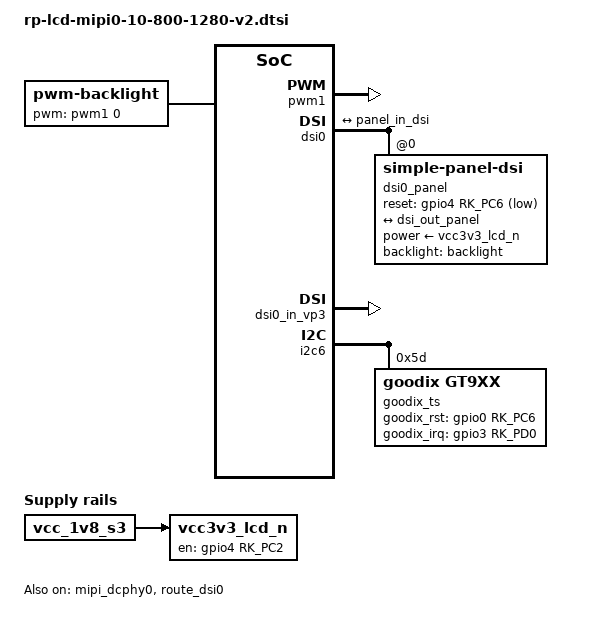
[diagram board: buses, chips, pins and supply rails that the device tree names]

/ {
    vcc3v3_lcd_n: vcc3v3-lcd0-n {
        compatible = "regulator-fixed";
        regulator-name = "vcc3v3_lcd0_n";
        regulator-boot-on;
        enable-active-high;
        gpio = <&gpio4 RK_PC2 GPIO_ACTIVE_HIGH>;
        vin-supply = <&vcc_1v8_s3>;
    };


    backlight: backlight {
        compatible = "pwm-backlight";
        pwms = <&pwm1 0 25000 0>;
        status = "okay";
        brightness-levels = <
              0  20  20  21  21  22  22  23
             23  24  24  25  25  26  26  27
             27  28  28  29  29  30  30  31
             31  32  32  33  33  34  34  35
             35  36  36  37  37  38  38  39
             40  41  42  43  44  45  46  47
             48  49  50  51  52  53  54  55
             56  57  58  59  60  61  62  63
             64  65  66  67  68  69  70  71
             72  73  74  75  76  77  78  79
             80  81  82  83  84  85  86  87
             88  89  90  91  92  93  94  95
             96  97  98  99 100 101 102 103
            104 105 106 107 108 109 110 111
            112 113 114 115 116 117 118 119
            120 121 122 123 124 125 126 127
            128 129 130 131 132 133 134 135
            136 137 138 139 140 141 142 143
            144 145 146 147 148 149 150 151
            152 153 154 155 156 157 158 159
            160 161 162 163 164 165 166 167
            168 169 170 171 172 173 174 175
            176 177 178 179 180 181 182 183
            184 185 186 187 188 189 190 191
            192 193 194 195 196 197 198 199
            200 201 202 203 204 205 206 207
            208 209 210 211 212 213 214 215
            216 217 218 219 220 221 222 223
            224 225 226 227 228 229 230 231
            232 233 234 235 236 237 238 239
            240 241 242 243 244 245 246 247
            248 249 250 251 252 253 254 255
        >;
        default-brightness-level = <200>;
    };

};


&pwm1 {
    status = "okay";
    pinctrl-0 = <&pwm1m1_pins>;
};


&dsi0 {
    status = "okay";
    rockchip,lane-rate = <480000>;
    dsi0_panel: panel@0 {
        status = "okay";
        compatible = "simple-panel-dsi";
        reg = <0>;

        power-supply = <&vcc3v3_lcd_n>;

        reset-gpios = <&gpio4 RK_PC6 GPIO_ACTIVE_LOW>;
        pinctrl-names = "default";
        pinctrl-0 = <&lcd_rst_gpio>;

        backlight = <&backlight>;
        init-delay-ms = <60>;
        reset-delay-ms = <60>;
        enable-delay-ms = <60>;
        prepare-delay-ms = <60>;
        unprepare-delay-ms = <60>;
        disable-delay-ms = <60>;
        dsi,flags = <(MIPI_DSI_MODE_VIDEO | MIPI_DSI_MODE_VIDEO_BURST |
            MIPI_DSI_MODE_LPM | MIPI_DSI_MODE_EOT_PACKET)>;
        dsi,format = <MIPI_DSI_FMT_RGB888>;
        dsi,lanes  = <4>;
        
        panel-init-sequence = [
        39 00 04 FF 98 81 03    
                //=========_1===========//  
                39 00 02 01 00
                39 00 02 02 00
                39 00 02 03 53   
                39 00 02 04 13   
                39 00 02 05 00   
                39 00 02 06 04   
                39 00 02 07 00   
                39 00 02 08 00   
                39 00 02 09 22   
                39 00 02 0a 22   
                39 00 02 0b 00   
                39 00 02 0c 01   
                39 00 02 0d 00   
                39 00 02 0e 00   
                39 00 02 0f 23   
                39 00 02 10 23   
                39 00 02 11 00
                39 00 02 12 00
                39 00 02 13 00
                39 00 02 14 00
                39 00 02 15 00
                39 00 02 16 00
                39 00 02 17 00
                39 00 02 18 00
                39 00 02 19 00
                39 00 02 1a 00
                39 00 02 1b 00
                39 00 02 1c 00
                39 00 02 1d 00
                39 00 02 1e 44
                39 00 02 1f 80
                39 00 02 20 02   
                39 00 02 21 03   
                39 00 02 22 00
                39 00 02 23 00
                39 00 02 24 00
                39 00 02 25 00
                39 00 02 26 00
                39 00 02 27 00
                39 00 02 28 33   
                39 00 02 29 03   
                39 00 02 2a 00    
                39 00 02 2b 00    
                39 00 02 2c 00    
                39 00 02 2d 00    
                39 00 02 2e 00    
                39 00 02 2f 00    
                39 00 02 30 00    
                39 00 02 31 00    
                39 00 02 32 00    
                39 00 02 33 00    
                39 00 02 34 04   
                39 00 02 35 00    
                39 00 02 36 00    
                39 00 02 37 00    
                39 00 02 38 3C    
                39 00 02 39 00    
                39 00 02 3a 40    
                39 00 02 3b 40    
                39 00 02 3c 00    
                39 00 02 3d 00    
                39 00 02 3e 00    
                39 00 02 3f 00    
                39 00 02 40 00    
                39 00 02 41 00    
                39 00 02 42 00    
                39 00 02 43 00    
                39 00 02 44 00 



                //=========_2===========//   
                39 00 02 50 01    
                39 00 02 51 23    
                39 00 02 52 45    
                39 00 02 53 67    
                39 00 02 54 89     
                39 00 02 55 ab    
                39 00 02 56 01    
                39 00 02 57 23    
                39 00 02 58 45    
                39 00 02 59 67    
                39 00 02 5a 89    
                39 00 02 5b ab    
                39 00 02 5c cd    
                39 00 02 5d ef

                //=========_3===========//       
                39 00 02 5e 11 

                39 00 02 5f 01     
                39 00 02 60 00     
                39 00 02 61 15     
                39 00 02 62 14     
                39 00 02 63 0C     
                39 00 02 64 0D     
                39 00 02 65 0E     
                39 00 02 66 0F     
                39 00 02 67 06     
                39 00 02 68 02    
                39 00 02 69 02    
                39 00 02 6a 02    
                39 00 02 6b 02    
                39 00 02 6c 02    
                39 00 02 6d 02      
                39 00 02 6e 08      
                39 00 02 6f 02      
                39 00 02 70 02      
                39 00 02 71 02     
                39 00 02 72 02    
                39 00 02 73 02    
                39 00 02 74 02
                    
                39 00 02 75 01      
                39 00 02 76 00      
                39 00 02 77 15      
                39 00 02 78 14      
                39 00 02 79 0C     
                39 00 02 7a 0D     
                39 00 02 7b 0E      
                39 00 02 7c 0F      
                39 00 02 7D 08      
                39 00 02 7E 02      
                39 00 02 7F 02      
                39 00 02 80 02      
                39 00 02 81 02      
                39 00 02 82 02      
                39 00 02 83 02       
                39 00 02 84 06       
                39 00 02 85 02      
                39 00 02 86 02       
                39 00 02 87 02       
                39 00 02 88 02    
                39 00 02 89 02    
                39 00 02 8A 02


                //CMD_Page 
                39 00 04 FF 98 81 04
                39 00 02 6C 15        
                39 00 02 6E 3B        
                39 00 02 6F 73       
                39 00 02 3A 24       
                39 00 02 8D 14        
                39 00 02 87 BA                      
                39 00 02 26 76                
                39 00 02 B2 D1        
                39 00 02 B5 27        
                39 00 02 31 75        
                39 00 02 30 03        
                39 00 02 3B 98       
                39 00 02 35 1f        
                39 00 02 33 14               
                39 00 02 7A 0F
                39 00 02 38 02
                39 00 02 39 00


                //CMD_Page 
                39 00 04 FF 98 81 01
                39 00 02 22 0A        
                39 00 02 31 0A        
                39 00 02 35 07        
                39 00 02 52 00        
                39 00 02 53 5A          
                39 00 02 54 00        
                39 00 02 55 59        
                39 00 02 50 83        
                39 00 02 51 80        
                39 00 02 60 20            
                39 00 02 61 01
                39 00 02 62 07        
                39 00 02 63 00

                //GammaP
                39 00 02 A0 08
                39 00 02 A1 0F
                39 00 02 A2 15
                39 00 02 A3 0E
                39 00 02 A4 0D
                39 00 02 A5 1B
                39 00 02 A6 0F
                39 00 02 A7 14
                39 00 02 A8 33
                39 00 02 A9 17
                39 00 02 AA 23
                39 00 02 AB 3F
                39 00 02 AC 22
                39 00 02 AD 24
                39 00 02 AE 59
                39 00 02 AF 2B
                39 00 02 B0 2E
                39 00 02 B1 4C
                39 00 02 B2 5C
                39 00 02 B3 33

                //GammaN
                39 00 02 C0 08
                39 00 02 C1 0F
                39 00 02 C2 15
                39 00 02 C3 0E
                39 00 02 C4 0D
                39 00 02 C5 1B
                39 00 02 C6 0F
                39 00 02 C7 14
                39 00 02 C8 33
                39 00 02 C9 17
                39 00 02 CA 23
                39 00 02 CB 3F
                39 00 02 CC 22
                39 00 02 CD 24
                39 00 02 CE 59
                39 00 02 CF 2B
                39 00 02 D0 2E
                39 00 02 D1 4C
                39 00 02 D2 5C
                39 00 02 D3 33


                //CMD_Page 
                39 00 04 FF 98 81 00
                05 78 01 11    //sleep out

                05 00 01 29    //display on
                05 00 01 35    //TE on
        ];
        
        panel-exit-sequence = [
            05 78 01 28
            05 78 01 10
        ];

        disp_timings0: display-timings {
            native-mode = <&dsi0_timing0>;
            dsi0_timing0: timing0 {
                clock-frequency = <82000000>;
                hactive = <800>;
                vactive = <1280>;
                hback-porch = <100>;
                hfront-porch = <100>;
                vback-porch = <30>;
                vfront-porch = <20>;
                hsync-len = <30>;
                vsync-len = <2>;
                hsync-active = <0>;
                vsync-active = <0>;
                de-active = <0>;
                pixelclk-active = <0>;
            };
        };

        ports {
            #address-cells = <1>;
            #size-cells = <0>;

            port@0 {
                reg = <0>;
                panel_in_dsi: endpoint {
                    remote-endpoint = <&dsi_out_panel>;
                };
            };
        };
    };

    ports {
        #address-cells = <1>;
        #size-cells = <0>;

        port@1 {
            reg = <1>;
            dsi_out_panel: endpoint {
                remote-endpoint = <&panel_in_dsi>;
            };
        };
    };

};


&dsi0_in_vp2 {
    status = "disabled";
};

&dsi0_in_vp3 {
    status = "okay";
};

&mipi_dcphy0 {
    status = "okay";
};

&route_dsi0 {
    status = "okay";
    connect = <&vp3_out_dsi0>;
};

&pinctrl {
    lcd {
        lcd_rst_gpio: lcd-rst-gpio {
            rockchip,pins = <4 RK_PC6 RK_FUNC_GPIO &pcfg_pull_none>;
        };
    };
        goodix {
                goodix_irq: goodix-irq {
                        rockchip,pins = <3 RK_PD0 RK_FUNC_GPIO &pcfg_pull_up>;
                };
        };
};

&i2c6 {
    status = "okay";
    pinctrl-names = "default";
        pinctrl-0 = <&i2c6m0_xfer>;

    goodix_ts@5d {
        status = "okay";
        compatible = "goodix,gt9xx";
        reg = <0x5d>;
        goodix_rst_gpio = <&gpio0 RK_PC6 GPIO_ACTIVE_HIGH>;
        goodix_irq_gpio = <&gpio3 RK_PD0 IRQ_TYPE_LEVEL_LOW>;
                pinctrl-names = "default";
                pinctrl-0 = <&goodix_irq>;

        gtp_resolution_x = <800>;
        gtp_resolution_y = <1280>;
        gtp_int_tarigger = <1>;
        gtp_change_x2y = <0>;
        gtp_overturn_x = <0>;
        gtp_overturn_y = <0>;
        gtp_send_cfg = <1>;
        gtp_touch_back = <1>;
        gtp_touch_wakeup = <1>;

        goodix,cfg-group2 = [
                        41 20 03 00 05 0A 35 00 01 06
                        23 08 37 2D 03 05 00 00 00 00
                        00 00 04 17 19 1D 14 90 30 AA
                        53 55 0C 08 00 00 00 01 03 1D
                        00 00 00 00 00 00 00 00 00 00
                        00 3C 78 94 D0 42 00 08 00 04
                        8E 40 00 85 4A 00 7F 55 00 7B
                        61 00 7A 70 00 7B 00 00 00 00
                        00 00 00 00 00 00 00 00 00 00
                        00 00 00 00 00 00 00 00 00 00
                        00 00 00 00 00 00 00 00 00 00
                        00 00 19 18 17 16 15 14 11 10
                        0F 0E 0D 0C 09 08 07 06 05 04
                        01 00 00 00 00 00 00 00 00 00
                        00 00 00 02 04 06 07 08 0A 0C
                        0D 0E 0F 10 11 12 13 14 2A 29
                        28 27 26 25 24 23 22 21 20 1F
                        1E 1C 1B 19 00 00 00 00 00 00
                        00 00 00 00 17 01
        ];

};
};


